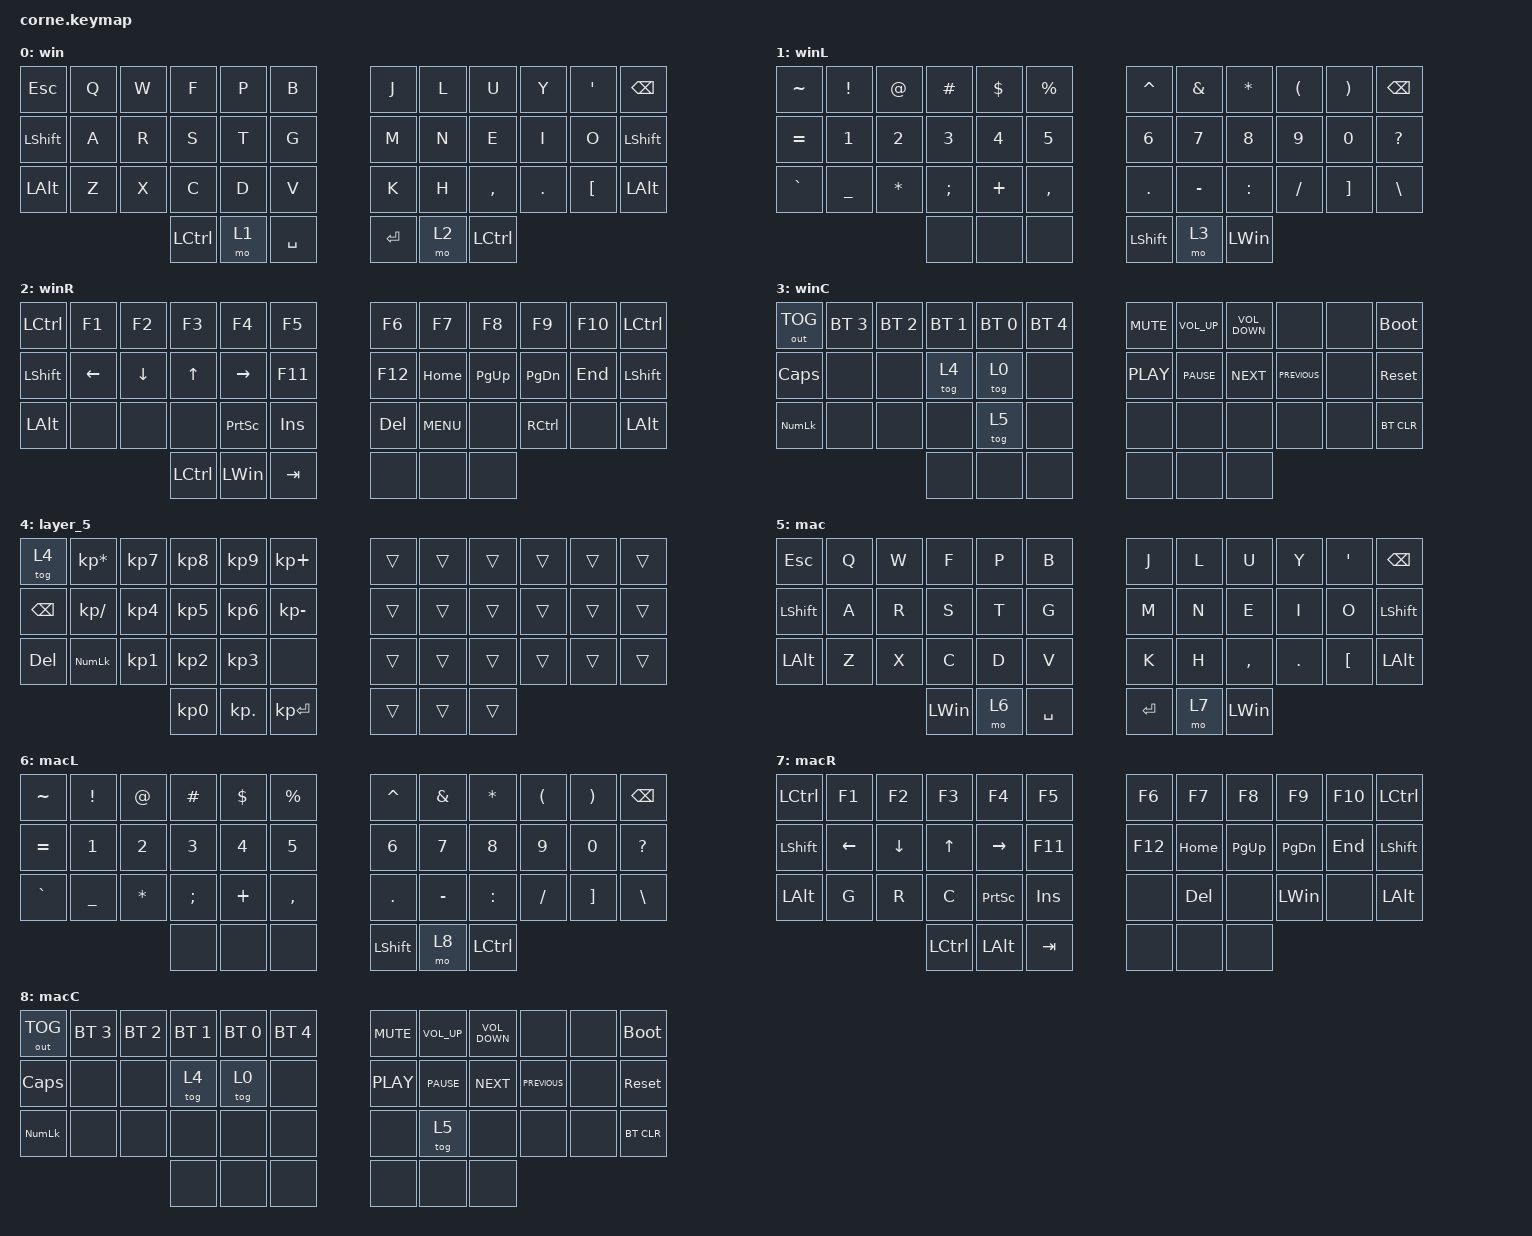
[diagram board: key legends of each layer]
/*
 * Copyright (c) 2020 The ZMK Contributors
 *
 * SPDX-License-Identifier: MIT
 */

#include <dt-bindings/zmk/mouse.h>
#include <behaviors.dtsi>
#include <dt-bindings/zmk/bt.h>
#include <dt-bindings/zmk/keys.h>
#include <dt-bindings/zmk/outputs.h>

/ {
    keymap {
        compatible = "zmk,keymap";

        win {
            // -----------------------------------------------------------------------------------------
            // |  TAB |  Q  |  W  |  E  |  R  |  T  |   |  Y  |  U   |  I  |  O  |  P  | BKSP |
            // | CTRL |  A  |  S  |  D  |  F  |  G  |   |  H  |  J   |  K  |  L  |  ;  |  '   |
            // | SHFT |  Z  |  X  |  C  |  V  |  B  |   |  N  |  M   |  ,  |  .  |  /  | ESC  |
            //                    | GUI | LWR | SPC |   | ENT | RSE  | ALT |

            label = "win";
            bindings = <
&kp ESCAPE      &kp Q  &kp W  &kp F      &kp P  &kp B        &kp J    &kp L  &kp U      &kp Y    &kp SQT           &kp BACKSPACE
&kp LEFT_SHIFT  &kp A  &kp R  &kp S      &kp T  &kp G        &kp M    &kp N  &kp E      &kp I    &kp O             &kp LEFT_SHIFT
&kp LEFT_ALT    &kp Z  &kp X  &kp C      &kp D  &kp V        &kp K    &kp H  &kp COMMA  &kp DOT  &kp LEFT_BRACKET  &kp LEFT_ALT
                              &kp LCTRL  &mo 1  &kp SPACE    &kp RET  &mo 2  &kp LCTRL
            >;
        };

        win_lower {
            // -----------------------------------------------------------------------------------------
            // |  TAB |  1  |  2  |  3  |  4  |  5  |   |  6  |  7  |  8  |  9  |  0  | BKSP |
            // | BTCLR| BT1 | BT2 | BT3 | BT4 | BT5 |   | LFT | DWN |  UP | RGT |     |      |
            // | SHFT |     |     |     |     |     |   |     |     |     |     |     |      |
            //                    |BTCLR|     | SPC |   | ENT |     | ALT |

            label = "winL";
            bindings = <
&kp TILDE  &kp EXCL        &kp AT        &kp HASH  &kp DOLLAR  &kp PRCNT    &kp CARET       &kp AMPS   &kp ASTERISK  &kp LPAR   &kp RPAR           &kp BACKSPACE
&kp EQUAL  &kp N1          &kp N2        &kp N3    &kp N4      &kp N5       &kp N6          &kp N7     &kp N8        &kp N9     &kp N0             &kp QUESTION
&kp GRAVE  &kp UNDERSCORE  &kp ASTERISK  &kp SEMI  &kp PLUS    &kp COMMA    &kp PERIOD      &kp MINUS  &kp COLON     &kp SLASH  &kp RIGHT_BRACKET  &kp BACKSLASH
                                         &none     &none       &none        &kp LEFT_SHIFT  &mo 3      &kp LEFT_WIN
            >;
        };

        win_raise {
            // -----------------------------------------------------------------------------------------
            // |  TAB |  !  |  @  |  #  |  $  |  %  |   |  ^  |  &  |  *  |  (  |  )  | BKSP |
            // | CTRL |     |     |     |     |     |   |  -  |  =  |  [  |  ]  |  \  |  `   |
            // | SHFT |     |     |     |     |     |   |  _  |  +  |  {  |  }  | "|" |  ~   |
            //                    | GUI |     | SPC |   | ENT |     | ALT |

            label = "winR";
            bindings = <
&kp LEFT_CONTROL  &kp F1    &kp F2          &kp F3        &kp F4           &kp F5     &kp F6      &kp F7      &kp F8       &kp F9         &kp F10  &kp LEFT_CONTROL
&kp LEFT_SHIFT    &kp LEFT  &kp DOWN_ARROW  &kp UP_ARROW  &kp RIGHT        &kp F11    &kp F12     &kp HOME    &kp PAGE_UP  &kp PAGE_DOWN  &kp END  &kp LEFT_SHIFT
&kp LEFT_ALT      &none     &none           &none         &kp PRINTSCREEN  &kp INS    &kp DELETE  &kp C_MENU  &none        &kp RCTRL      &none    &kp LEFT_ALT
                                            &kp LCTRL     &kp LEFT_WIN     &kp TAB    &none       &none       &none
            >;
        };

        win_control {
            bindings = <
&out OUT_TOG    &bt BT_SEL 3  &bt BT_SEL 2  &bt BT_SEL 1  &bt BT_SEL 0  &bt BT_SEL 4    &kp C_MUTE  &kp C_VOL_UP  &kp C_VOLUME_DOWN  &none           &none  &bootloader
&kp CAPS        &none         &none         &tog 4        &tog 0        &none           &kp C_PLAY  &kp C_PAUSE   &kp C_NEXT         &kp C_PREVIOUS  &none  &sys_reset
&kp KP_NUMLOCK  &none         &none         &none         &tog 5        &none           &none       &none         &none              &none           &none  &bt BT_CLR
                                            &none         &none         &none           &none       &none         &none
            >;

            label = "winC";
        };

        layer_5 {
            bindings = <
&tog 4         &kp KP_MULTIPLY  &kp KP_NUMBER_7  &kp KP_NUMBER_8  &kp KP_NUMBER_9  &kp KP_PLUS     &trans  &trans  &trans  &trans  &trans  &trans
&kp BACKSPACE  &kp KP_DIVIDE    &kp KP_NUMBER_4  &kp KP_NUMBER_5  &kp KP_NUMBER_6  &kp KP_MINUS    &trans  &trans  &trans  &trans  &trans  &trans
&kp DELETE     &kp KP_NUMLOCK   &kp KP_NUMBER_1  &kp KP_NUMBER_2  &kp KP_NUMBER_3  &none           &trans  &trans  &trans  &trans  &trans  &trans
                                                 &kp KP_NUMBER_0  &kp KP_DOT       &kp KP_ENTER    &trans  &trans  &trans
            >;
        };

        mac {
            label = "mac";
            bindings = <
&kp ESCAPE      &kp Q  &kp W  &kp F         &kp P  &kp B        &kp J    &kp L  &kp U         &kp Y    &kp SQT           &kp BACKSPACE
&kp LEFT_SHIFT  &kp A  &kp R  &kp S         &kp T  &kp G        &kp M    &kp N  &kp E         &kp I    &kp O             &kp LEFT_SHIFT
&kp LEFT_ALT    &kp Z  &kp X  &kp C         &kp D  &kp V        &kp K    &kp H  &kp COMMA     &kp DOT  &kp LEFT_BRACKET  &kp LEFT_ALT
                              &kp LEFT_WIN  &mo 6  &kp SPACE    &kp RET  &mo 7  &kp LEFT_WIN
            >;
        };

        mac_lower {
            label = "macL";
            bindings = <
&kp TILDE  &kp EXCL        &kp AT        &kp HASH  &kp DOLLAR  &kp PRCNT    &kp CARET       &kp AMPS   &kp ASTERISK      &kp LPAR   &kp RPAR           &kp BACKSPACE
&kp EQUAL  &kp N1          &kp N2        &kp N3    &kp N4      &kp N5       &kp N6          &kp N7     &kp N8            &kp N9     &kp N0             &kp QUESTION
&kp GRAVE  &kp UNDERSCORE  &kp ASTERISK  &kp SEMI  &kp PLUS    &kp COMMA    &kp PERIOD      &kp MINUS  &kp COLON         &kp SLASH  &kp RIGHT_BRACKET  &kp BACKSLASH
                                         &none     &none       &none        &kp LEFT_SHIFT  &mo 8      &kp LEFT_CONTROL
            >;
        };

        mac_raise {
            label = "macR";
            bindings = <
&kp LEFT_CONTROL  &kp F1    &kp F2          &kp F3        &kp F4           &kp F5     &kp F6   &kp F7      &kp F8       &kp F9         &kp F10  &kp LEFT_CONTROL
&kp LEFT_SHIFT    &kp LEFT  &kp DOWN_ARROW  &kp UP_ARROW  &kp RIGHT        &kp F11    &kp F12  &kp HOME    &kp PAGE_UP  &kp PAGE_DOWN  &kp END  &kp LEFT_SHIFT
&kp LEFT_ALT      &kp G     &kp R           &kp C         &kp PRINTSCREEN  &kp INS    &none    &kp DELETE  &none        &kp LEFT_WIN   &none    &kp LEFT_ALT
                                            &kp LCTRL     &kp LEFT_ALT     &kp TAB    &none    &none       &none
            >;
        };

        mac_control {
            label = "macC";
            bindings = <
&out OUT_TOG    &bt BT_SEL 3  &bt BT_SEL 2  &bt BT_SEL 1  &bt BT_SEL 0  &bt BT_SEL 4    &kp C_MUTE  &kp C_VOL_UP  &kp C_VOLUME_DOWN  &none           &none  &bootloader
&kp CAPS        &none         &none         &tog 4        &tog 0        &none           &kp C_PLAY  &kp C_PAUSE   &kp C_NEXT         &kp C_PREVIOUS  &none  &sys_reset
&kp KP_NUMLOCK  &none         &none         &none         &none         &none           &none       &tog 5        &none              &none           &none  &bt BT_CLR
                                            &none         &none         &none           &none       &none         &none
            >;
        };
    };
};
